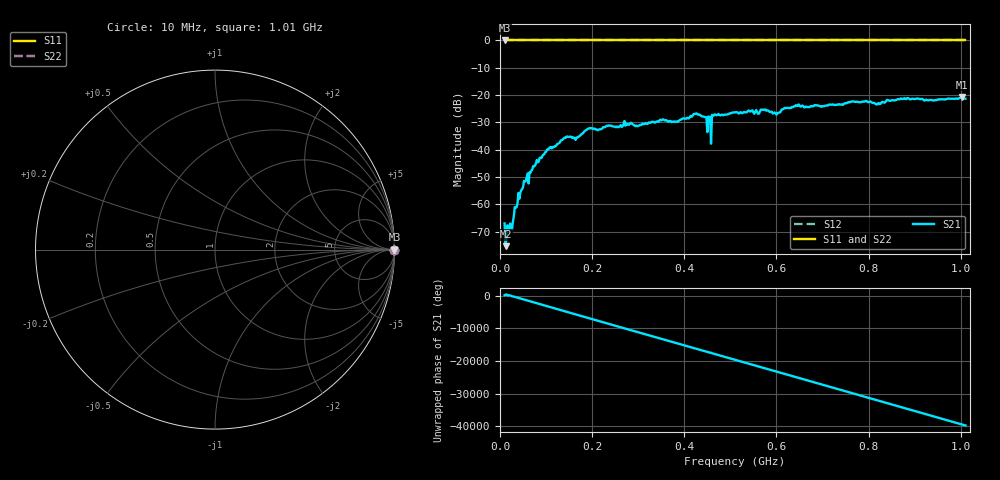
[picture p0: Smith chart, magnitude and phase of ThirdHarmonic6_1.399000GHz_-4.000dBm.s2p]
! 8/16/2025 3:58:49 PM
! C:\ANRITSUVNA\TEMP\TEMP.S2P
! CHANNEL.1
! TR.MEASUREMENT
! RAW.DATA
! RF.CORRECTION.OFF
! AVERAGING.OFF
! IF.BANDWIDTH: 5KHZ
! SWEEPTYPE:  FREQ.SWEEP(Linear)
! Reference Plane Port Info
! PORT:  PORT1  PORT2
! DISTANCE:  0  m  0  m
! TIME:  0  s  0  s
! PHASE.OFFSET:  0  deg.  0  deg.
! LOSS:  0  dB  0  dB
! REF.LOSS:  0  dB  0  dB
! REF.FREQ:  0  Hz  0  Hz
! Power Info
! POWER:  -20  dBm  -20  dBm
! EFF.POWER:  -20  dBm  -20  dBm
! SOURCE.ATTEN:  0  dB  0  dB
! TEST.ATTEN:  0  dB  0  dB
# GHZ S RI R 50.0
! FREQ.GHZ  S11RE  S11IM  S21RE  S21IM  S12RE  S12IM  S22RE  S22IM
!; PortSelection: Port_12
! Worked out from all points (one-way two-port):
!   501 points, 10 MHz to 1.01 GHz, reference 50 ohm
!   highest |S21| = -20.70 dB at 1.002 GHz (marker M1); lowest = -75.2 dB at 12 MHz (marker M2)
!   lowest |S11| = 0.0 dB at 10 MHz (marker M3)
!   |S11| at or under -10 dB: nowhere
!   |S22| runs from 0.0 to 0.0 dB; largest |S21 - S12| = 1.1
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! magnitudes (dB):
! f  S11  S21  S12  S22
! 10 MHz  0.0  -66.9  0.0  0.0
! 12 MHz  0.0  -75.2  0.0  0.0
! 24 MHz  0.0  -68.2  0.0  0.0
! 44 MHz  0.0  -55.8  0.0  0.0
! 76 MHz  0.0  -45.7  0.0  0.0
! 142 MHz  0.0  -35.7  0.0  0.0
! 178 MHz  0.0  -34.1  0.0  0.0
! 194 MHz  0.0  -32.2  0.0  0.0
! 344 MHz  0.0  -29.8  0.0  0.0
! 384 MHz  0.0  -29.7  0.0  0.0
! 424 MHz  0.0  -26.9  0.0  0.0
! 444 MHz  0.0  -28.0  0.0  0.0
! 454 MHz  0.0  -28.0  0.0  0.0
! 462 MHz  0.0  -27.5  0.0  0.0
! 464 MHz  0.0  -27.4  0.0  0.0
! 510 MHz  0.0  -26.3  0.0  0.0
! 602 MHz  0.0  -26.5  0.0  0.0
! 644 MHz  0.0  -23.9  0.0  0.0
! 678 MHz  0.0  -24.1  0.0  0.0
! 844 MHz  0.0  -22.0  0.0  0.0
! 1.002 GHz  0.0  -20.7  0.0  0.0
! 1.01 GHz  0.0  -21.3  0.0  0.0
